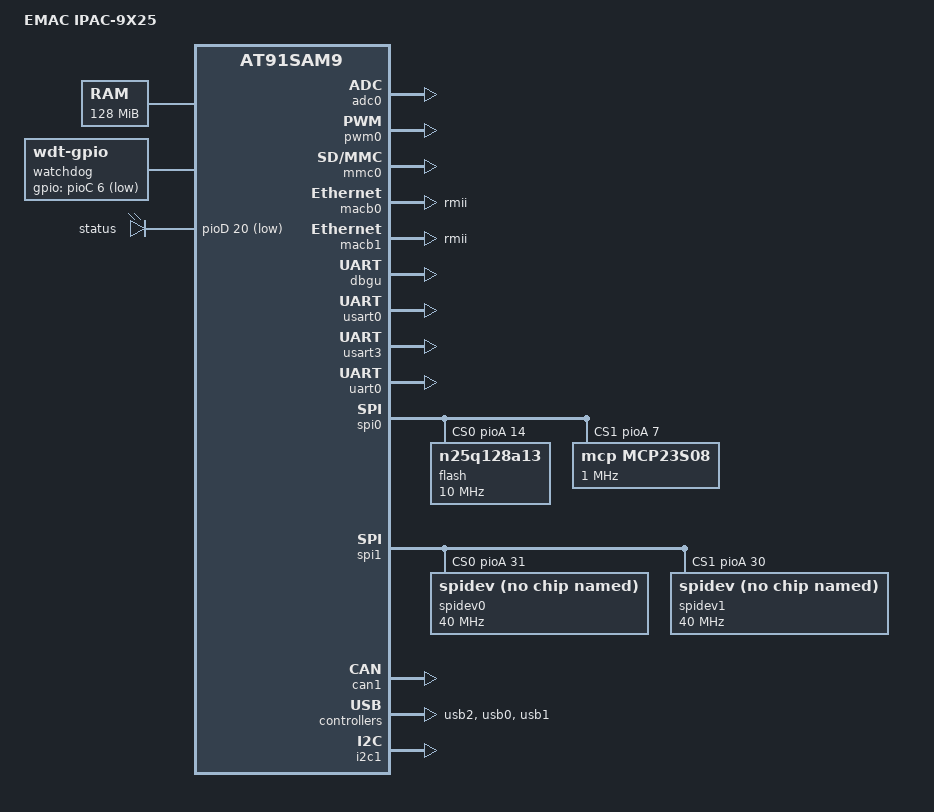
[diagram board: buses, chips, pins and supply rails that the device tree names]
/*
 * ipac-9x25.dts - Device Tree file for the iPac-9x25.
 *
 *  Copyright (C) 2014 EMAC Inc.
 *
 * Licensed under GPLv2 or later.
 */
/dts-v1/;
#include "at91sam9x25.dtsi"

/ {
	model = "EMAC IPAC-9X25";
	compatible = "atmel,at91sam9x25ek", "atmel,at91sam9x5ek", "atmel,at91sam9x5", "atmel,at91sam9";

	aliases {
		serial0 = &usart3;
		serial1 = &usart0;
		serial3 = &uart0;
		serial5 = &dbgu;
		spi0 = &spi0;
		spi1 = &spi1;
	};

	memory {
		reg = <0x20000000 0x8000000>;
	};

	clocks {
		#address-cells = <1>;
		#size-cells = <1>;
		ranges;

		main_clock: clock@0 {
			compatible = "atmel,osc", "fixed-clock";
			clock-frequency = <12000000>;
		};

		slow_xtal {
			clock-frequency = <32768>;
		};

		main_xtal {
			clock-frequency = <12000000>;
		};
	};

	ahb {
		apb {
			pinctrl@fffff400 {
				adc0 {
					pinctrl_adc0: adc0-board {
						atmel,pins =
							<AT91_PIOB 11 AT91_PERIPH_A AT91_PINCTRL_NONE
							 AT91_PIOB 12 AT91_PERIPH_A AT91_PINCTRL_NONE
							 AT91_PIOB 13 AT91_PERIPH_A AT91_PINCTRL_NONE
							 AT91_PIOB 14 AT91_PERIPH_A AT91_PINCTRL_NONE
							 AT91_PIOB 15 AT91_PERIPH_A AT91_PINCTRL_NONE
							 AT91_PIOB 16 AT91_PERIPH_A AT91_PINCTRL_NONE
							 AT91_PIOB 17 AT91_PERIPH_A AT91_PINCTRL_NONE>;
					};
				};

				mmc0 {
					pinctrl_board_mmc0: mmc0-board {
						atmel,pins =
							<AT91_PIOC 4 AT91_PERIPH_GPIO AT91_PINCTRL_PULL_UP_DEGLITCH>;
					};
				};

				spi0 {
					pinctrl_spi0_cs: spi0-board {
						atmel,pins =
							<AT91_PIOA 7 AT91_PERIPH_GPIO AT91_PINCTRL_PULL_UP
							 AT91_PIOA 14 AT91_PERIPH_GPIO AT91_PINCTRL_PULL_UP>;
					};
				};

				spi1 {
					pinctrl_spi1_cs: spi1-board {
						atmel,pins =
							<AT91_PIOA 30 AT91_PERIPH_GPIO AT91_PINCTRL_PULL_UP
							 AT91_PIOA 31 AT91_PERIPH_GPIO AT91_PINCTRL_PULL_UP>;
					};
				};

				wdt_gpio {
					pinctrl_wdt: wdt-board {
						atmel,pins =
							<AT91_PIOC 6 AT91_PERIPH_GPIO AT91_PINCTRL_PULL_UP
							 AT91_PIOC 7 AT91_PERIPH_GPIO AT91_PINCTRL_PULL_UP>;
					};
				};

				led_gpio {
					pinctrl_led: led-board {
						atmel,pins =
							<AT91_PIOD 20 AT91_PERIPH_GPIO AT91_PINCTRL_NONE>;
					};
				};
			};

			adc0: adc@f804c000 {
				pinctrl-names = "default";
				pinctrl-0 = <&pinctrl_adc0>;
				status = "okay";
				atmel,adc-channels-used = <0x7f>;
			};

			pwm0: pwm@f8034000 {
				pinctrl-names = "default";
				pinctrl-0 = <&pinctrl_pwm0_pwm0_1 &pinctrl_pwm0_pwm1_1>;
				compatible = "atmel,at91sam9rl-pwm";
				reg = <0xf8034000 0x400>;
				#pwm-cells = <3>;
				status = "okay";
			};

			ssc0: ssc@f0010000 {
				status = "okay";
			};

			mmc0: mmc@f0008000 {
				pinctrl-names = "default";
				pinctrl-0 = <
					&pinctrl_board_mmc0
					&pinctrl_mmc0_slot0_clk_cmd_dat0
					&pinctrl_mmc0_slot0_dat1_3>;
				status = "okay";
				slot@0 {
					reg = <0>;
					bus-width = <4>;
					/* cd-gpios = <&pioC 4 GPIO_ACTIVE_LOW>; */
				};
			};

			macb0: ethernet@f802c000 {
				phy-mode = "rmii";
				status = "okay";
			};

			macb1: ethernet@f8030000 {
				phy-mode = "rmii";
				status = "okay";
			};

			rtc: rtc@fffffeb0 {
				status = "okay";
			};

			dbgu: serial@fffff200 {
				status = "okay";
			};

			usart0: serial@f801c000 {
				pinctrl-names = "default";
				pinctrl-0 = <
					&pinctrl_usart0
					&pinctrl_usart0_rts>;
				status = "okay";
			};

			usart3: serial@f8028000 {
				pinctrl-names = "default";
				pinctrl-0 = <
					&pinctrl_usart3
					&pinctrl_usart3_rts
					&pinctrl_usart3_cts>;
				status = "okay";
			};

			uart0: serial@f8040000 {
				status = "okay";
			};

			spi0: spi@f0000000 {
				cs-gpios = <&pioA 14 0
					    &pioA 7 0>;
				pinctrl-name = "default";
				pinctrl-0 = <&pinctrl_spi0 &pinctrl_spi0_cs>;
				status = "okay";

				flash: m25p80@0 {
					compatible = "n25q128a13";
					spi-max-frequency = <10000000>;
					reg = <0>;
					status = "okay";
				};

				mcp23s08: mcp23s08@1 {
					compatible = "mcp,mcp23s08";
					gpio-controller;
					#gpio-cells = <2>;
					mcp,spi-present-mask = <0x07>;
					spi-max-frequency = <1000000>;
					reg = <1>;
					status = "okay";
				};
			};

			spi1: spi@f0004000 {
				cs-gpios = <&pioA 31 0
					    &pioA 30 0>;
				pinctrl-name = "default";
				pinctrl-0 = <&pinctrl_spi1 &pinctrl_spi1_cs>;

				status = "okay";
				spidev0: spidev@0 {
					compatible = "emac,spidev";
					spi-max-frequency = <40000000>;
					reg = <0>;
				};

				spidev1: spidev@1 {
					compatible = "emac,spidev";
					spi-max-frequency = <40000000>;
					reg = <1>;
				};
			};

			can1: can@f8004000 {
				status = "okay";
			};

			usb2: gadget@f803c000 {
				status = "okay";
			};

			i2c1: i2c@f8014000 {
				status = "okay";
			};

			watchdog: watchdog {
				/* MAX6747 */
				compatible = "linux,wdt-gpio";
				gpios = <&pioC 6 GPIO_ACTIVE_LOW>;
				hw_algo = "toggle";
				always-running;
				hw_margin_ms = <1000>;
			};

			reset_controller: rstc@fffffe00 {
				compatible = "atmel,sama5d3-rstc";
				reg = <0xfffffe00 0x10>;
				clocks = <&clk32k>;
			};
		};

		usb0: ohci@00600000 {
			status = "okay";
			num-ports = <3>;
		};

		usb1: ehci@00700000 {
			status = "okay";
		};
	};

	gpio-leds {
		compatible = "gpio-leds";
		pinctrl-names = "default";
		pinctrl-0 = <&pinctrl_led>;
		led-stat {
			label = "status";
			gpios = <&pioD 20 1>;
			default-state = "on";
			linux,default-trigger = "none";
		};
	};
};
